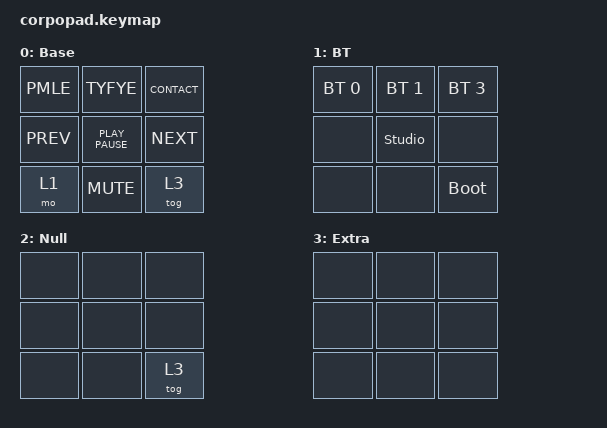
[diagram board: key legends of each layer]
/*
 * Copyright (c) 2022 The ZMK Contributors
 *
 * SPDX-License-Identifier: MIT
 */

#include <behaviors.dtsi>
#include <dt-bindings/zmk/bt.h>
#include <dt-bindings/zmk/keys.h>

/ {
    macros {
        PMLE: PMLE {
            compatible = "zmk,behavior-macro";
            #binding-cells = <0>;
            bindings = <&kp LS(P) &kp E &kp R &kp SPACE &kp M &kp Y &kp SPACE &kp L &kp A &kp S &kp T &kp SPACE &kp E &kp M &kp A &kp I &kp L &kp COMMA>;
            label = "PMLE";
        };

        TYFYE: TYFYE {
            compatible = "zmk,behavior-macro";
            #binding-cells = <0>;
            bindings = <&kp LS(T) &kp H &kp A &kp N &kp K &kp SPACE &kp Y &kp O &kp U &kp SPACE &kp F &kp O &kp R &kp SPACE &kp Y &kp O &kp U &kp R &kp SPACE &kp E &kp M &kp A &kp I &kp L &kp COMMA>;
            label = "TYFYE";
        };

        CONTACT: CONTACT {
            compatible = "zmk,behavior-macro";
            #binding-cells = <0>;
            bindings = <&kp LS(P) &kp L &kp E &kp A &kp S &kp E &kp SPACE &kp C &kp O &kp N &kp T &kp A &kp C &kp T &kp SPACE &kp S &kp U &kp P &kp P &kp O &kp R &kp T>;
            label = "CONTACT";
        };
    };

    keymap {
        compatible = "zmk,keymap";

        default_layer {
            display-name = "Base";
            bindings = <
            &PMLE       &TYFYE            &CONTACT
            &kp K_PREV  &kp K_PLAY_PAUSE  &kp K_NEXT
            &mo 1       &kp K_MUTE        &tog 3
            >;
        };

        bt_layer {
            display-name = "BT";
            bindings = <
            &bt BT_SEL 0  &bt BT_SEL 1    &bt BT_SEL 3
            &none         &studio_unlock  &none
            &none         &none           &bootloader
            >;
        };

        null_layer {
            display-name = "Null";
            bindings = <
            &none         &none     &none
            &none         &none     &none
            &none         &none     &tog 3
            >;
        };

            extra_layer {
            display-name = "Extra";
            bindings = <
            &none         &none     &none
            &none         &none     &none
            &none         &none     &none
            >;
        };
    };
};
